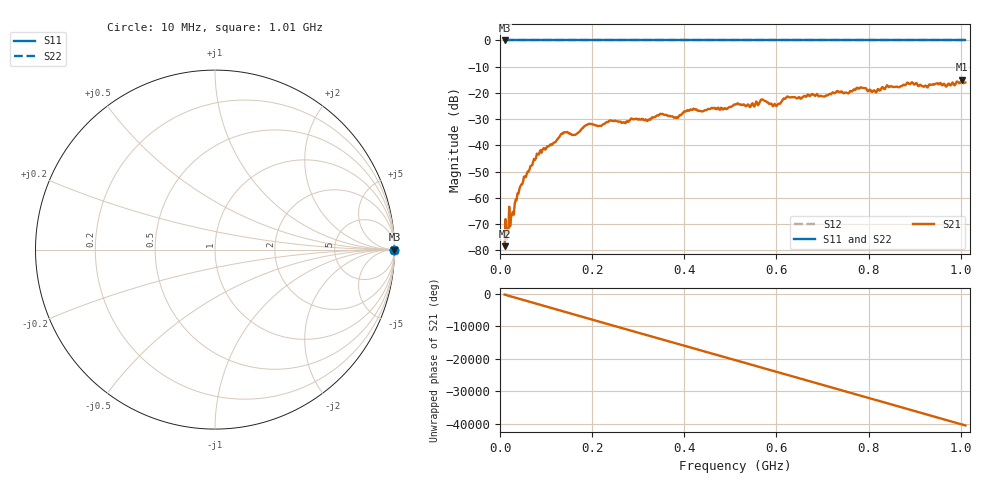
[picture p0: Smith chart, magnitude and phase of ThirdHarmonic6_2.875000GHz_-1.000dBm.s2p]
! 8/17/2025 7:52:16 AM
! C:\ANRITSUVNA\TEMP\TEMP.S2P
! CHANNEL.1
! TR.MEASUREMENT
! RAW.DATA
! RF.CORRECTION.OFF
! AVERAGING.OFF
! IF.BANDWIDTH: 5KHZ
! SWEEPTYPE:  FREQ.SWEEP(Linear)
! Reference Plane Port Info
! PORT:  PORT1  PORT2
! DISTANCE:  0  m  0  m
! TIME:  0  s  0  s
! PHASE.OFFSET:  0  deg.  0  deg.
! LOSS:  0  dB  0  dB
! REF.LOSS:  0  dB  0  dB
! REF.FREQ:  0  Hz  0  Hz
! Power Info
! POWER:  -20  dBm  -20  dBm
! EFF.POWER:  -20  dBm  -20  dBm
! SOURCE.ATTEN:  0  dB  0  dB
! TEST.ATTEN:  0  dB  0  dB
# GHZ S RI R 50.0
! FREQ.GHZ  S11RE  S11IM  S21RE  S21IM  S12RE  S12IM  S22RE  S22IM
!; PortSelection: Port_12
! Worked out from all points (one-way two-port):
!   501 points, 10 MHz to 1.01 GHz, reference 50 ohm
!   highest |S21| = -14.92 dB at 1.002 GHz (marker M1); lowest = -78.4 dB at 10 MHz (marker M2)
!   lowest |S11| = 0.0 dB at 10 MHz (marker M3)
!   |S11| at or under -10 dB: nowhere
!   |S22| runs from 0.0 to 0.0 dB; largest |S21 - S12| = 1.2
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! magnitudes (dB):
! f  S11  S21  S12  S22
! 10 MHz  0.0  -78.4  0.0  0.0
! 16 MHz  0.0  -71.5  0.0  0.0
! 26 MHz  0.0  -66.3  0.0  0.0
! 42 MHz  0.0  -56.7  0.0  0.0
! 84 MHz  0.0  -43.5  0.0  0.0
! 136 MHz  0.0  -35.6  0.0  0.0
! 162 MHz  0.0  -36.0  0.0  0.0
! 178 MHz  0.0  -33.5  0.0  0.0
! 344 MHz  0.0  -28.6  0.0  0.0
! 382 MHz  0.0  -29.2  0.0  0.0
! 416 MHz  0.0  -26.5  0.0  0.0
! 510 MHz  0.0  -24.4  0.0  0.0
! 548 MHz  0.0  -23.9  0.0  0.0
! 570 MHz  0.0  -22.5  0.0  0.0
! 596 MHz  0.0  -24.2  0.0  0.0
! 624 MHz  0.0  -21.4  0.0  0.0
! 678 MHz  0.0  -20.4  0.0  0.0
! 786 MHz  0.0  -18.0  0.0  0.0
! 812 MHz  0.0  -19.0  0.0  0.0
! 844 MHz  0.0  -17.8  0.0  0.0
! 1.002 GHz  0.0  -14.9  0.0  0.0
! 1.01 GHz  0.0  -16.1  0.0  0.0
